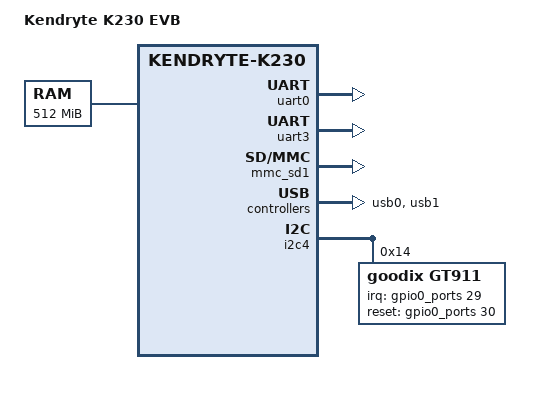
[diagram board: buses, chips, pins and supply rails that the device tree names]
// SPDX-License-Identifier: GPL-2.0 OR MIT
/*
 * Copyright (C) 2024 Yangyu Chen <cyy@cyyself.name>
 */

#include "k230.dtsi"
#include "display-hx8399-1080x1920.dtsi"

/ {
	model = "Kendryte K230 EVB";
	compatible = "canaan,k230-usip-lp3-evb", "canaan,kendryte-k230";

	aliases {
		serial3 = &uart3;
		mmc0 = &mmc_sd0;
		mmc1 = &mmc_sd1;
	};

	chosen {
		stdout-path = "serial0:115200n8";
	};

	ddr: memory@0 {
		device_type = "memory";
		reg = <0x0 0x0 0x0 0x20000000>;
	};

	sound {
		status                      = "okay";
		compatible                  = "canaan,k230-audio-inno";
		canaan,model                = "K230_I2S_INNO";
		canaan,k230-i2s-controller  = <&i2s>;
		canaan,k230-audio-codec     = <&inno_codec>;
	};
};

&uart0 {
	status = "okay";
};
&uart3 {
	status = "okay";
};

&mmc_sd1{
	status = "okay";
	no-1-8-v;
	cap-sd-highspeed;
	mshc_ctrl_r = <0x00>;
};

&usb0 {
	status = "okay";
};

&usb1 {
	status = "okay";
};

&i2c4 {
	status = "okay";
	gt911: touchscreen@5d {
		compatible = "goodix,gt911";
		reg = <0x14>;

		interrupt-parent = <&gpio0_ports>;
		interrupts = <29 IRQ_TYPE_EDGE_RISING>; /*IRQ_TYPE_LEVEL_HIGH*/
		irq-gpios = <&gpio0_ports 29 GPIO_ACTIVE_HIGH>;
		reset-gpios = <&gpio0_ports 30 GPIO_ACTIVE_HIGH>;

		goodix,cfg-group0 = [
			44 38 04 80 07 05 35 00 01 08
			28 08 50 32 03 05 00 00 00 00
			11 11 05 18 1A 1E 14 89 29 0C
			3D 3F 0C 08 00 00 00 2A 02 2C
			32 00 00 00 00 03 64 32 00 00
			00 2D 5A 94 D5 02 00 00 00 04
			8E 30 00 80 37 00 74 3F 00 69
			49 00 60 54 00 60 00 00 00 00
			00 00 00 00 00 00 00 00 00 00
			00 00 00 00 00 00 00 00 00 00
			00 00 00 00 00 00 00 00 00 00
			00 00 18 16 14 12 10 0E 0C 0A
			08 06 04 02 FF FF 00 00 00 00
			00 00 00 00 00 00 00 00 00 00
			00 00 00 02 04 06 08 0A 0F 10
			12 22 21 20 1F 1E 1D 1C 18 16
			FF FF FF FF FF FF FF FF 00 00
			00 00 00 00 00 00 00 00 00 00
			00 00 00 00 34 01
		];
		status = "okay";
	};
};

&lcd {
	dsi_reset-gpios = <&gpio0_ports 9 GPIO_ACTIVE_HIGH>;
	backlight_gpio-gpios = <&gpio0_ports 31 GPIO_ACTIVE_HIGH>;
};
